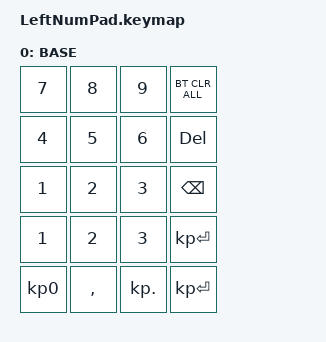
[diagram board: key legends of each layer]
/* SPDX-License-Identifier: MIT */

#include <behaviors.dtsi>
#include <dt-bindings/zmk/bt.h>
#include <dt-bindings/zmk/keys.h>

/ {
    macros {
        launch_calc_search: launch_calc_search {
            compatible = "zmk,behavior-macro";
            #binding-cells = <0>;
            tap-ms = <60>;
            wait-ms = <100>;
            bindings =
                <&kp LG(R)>,
                <&macro_wait_time 150>,
                <&kp C &kp A &kp L &kp C>,
                <&macro_wait_time 500>,
                <&kp ENTER>;
        };
    };

    keymap {
        compatible = "zmk,keymap";

        /* 4 columns x 5 rows = 20 bindings per layer */

        default_layer {
            display-name = "BASE";
            bindings = <
       
&kp N7          &kp N8      &kp N9         &bt BT_CLR_ALL
&kp N4          &kp N5      &kp N6   	   &kp DEL
&kp N1          &kp N2      &kp N3         &kp BSPC
&kp N1          &kp N2      &kp N3         &kp KP_ENTER    
&kp KP_N0       &kp COMMA   &kp KP_DOT     &kp KP_ENTER
            >;
        };
    };
};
